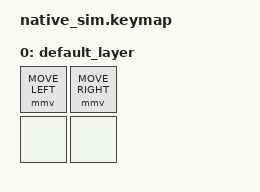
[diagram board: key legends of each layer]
#include <behaviors.dtsi>
#include <behaviors/mouse_move.dtsi>
#include <dt-bindings/zmk/keys.h>
#include <dt-bindings/zmk/input_matrix_mock.h>
#include <dt-bindings/zmk/pointing.h>

/ {
    keymap {
        compatible = "zmk,keymap";
        label ="Default keymap";

        default_layer {
            bindings = <
                &mmv MOVE_LEFT &mmv MOVE_RIGHT
                &none &none
            >;
        };
    };
};


&matrix {
    events = <
        ZMK_MOCK_PRESS(0,0,100)
        ZMK_MOCK_RELEASE(0,0,10)
        ZMK_MOCK_PRESS(0,1,100)
        ZMK_MOCK_RELEASE(0,1,10)
    >;
};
